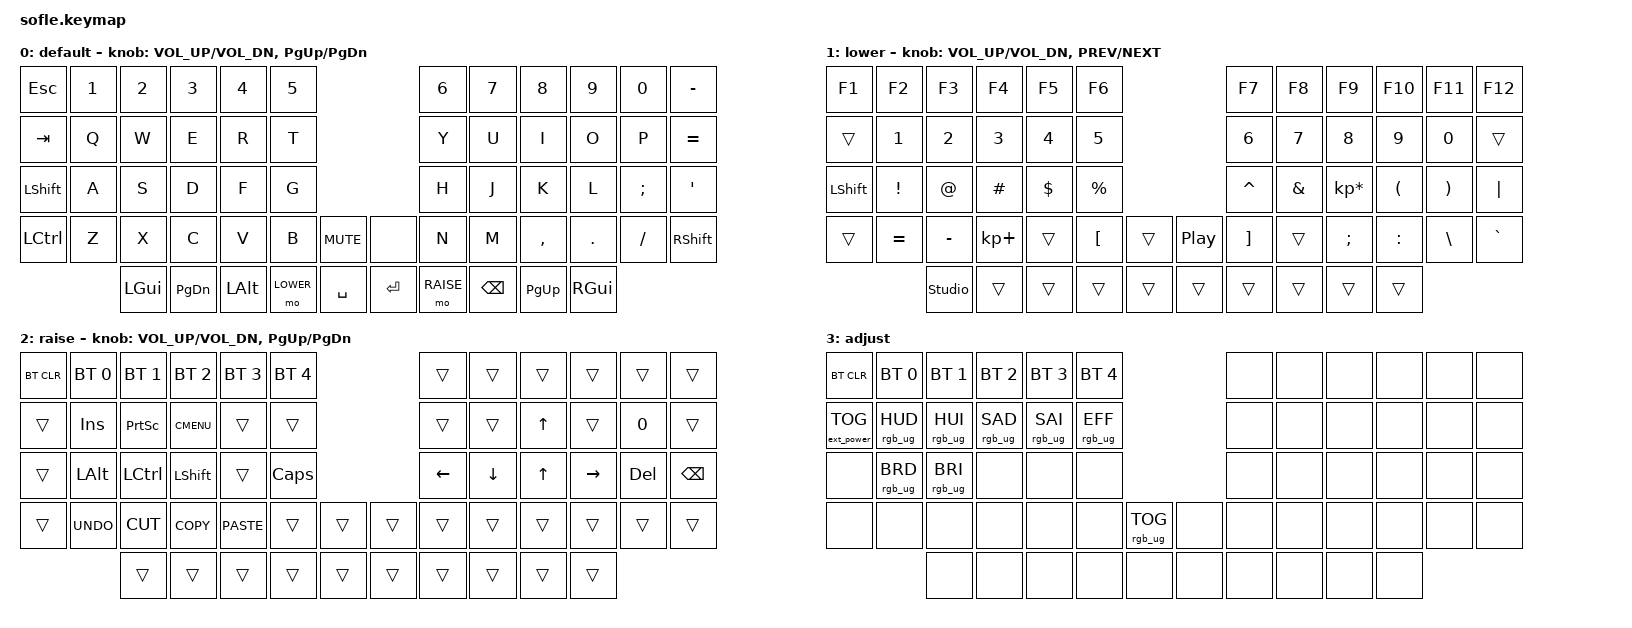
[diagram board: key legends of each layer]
/*
 * Copyright (c) 2020 The ZMK Contributors
 *
 * SPDX-License-Identifier: MIT
 */

#include <behaviors.dtsi>
#include <dt-bindings/zmk/bt.h>
#include <dt-bindings/zmk/ext_power.h>
#include <dt-bindings/zmk/keys.h>
#include <dt-bindings/zmk/rgb.h>

#define BASE 0
#define LOWER 1
#define RAISE 2
#define ADJUST 3

nice_view_spi: &spi0 {
  cs-gpios = <&pro_micro 4 GPIO_ACTIVE_HIGH>;
};

/ {
    // Activate ADJUST layer by pressing raise and lower

    conditional_layers {
        compatible = "zmk,conditional-layers";

        adjust_layer {
            if-layers = <LOWER RAISE>;
            then-layer = <ADJUST>;
        };
    };

    keymap {
        compatible = "zmk,keymap";

        default_layer {
            label = "default";

            // ------------------------------------------------------------------------------------------------------------
            // |  ESC  |  1  |  2  |  3   |  4   |  5   |                   |  6   |  7    |  8    |  9   |   0   |   -   |
            // |  TAB  |  Q  |  W  |  E   |  R   |  T   |                   |  Y   |  U    |  I    |  O   |   P   |   =   |
            // | SHIFT |  A  |  S  |  D   |  F   |  G   |                   |  H   |  J    |  K    |  L   |   ;   |   '   |
            // |  CTRL |  Z  |  X  |  C   |  V   |  B   |  MUTE  |  |       |  N   |  M    |  ,    |  .   |   /   | SHIFT |
            //               | GUI | ALT  | CTRL | LOWER|  ENTER |  | SPACE | RAISE| CTRL  | ALT   | GUI  |

            bindings = <
&kp ESC    &kp N1   &kp N2      &kp N3      &kp N4      &kp N5                                  &kp N6      &kp N7     &kp N8     &kp N9    &kp N0    &kp MINUS
&kp TAB    &kp Q    &kp W       &kp E       &kp R       &kp T                                   &kp Y       &kp U      &kp I      &kp O     &kp P     &kp EQUAL
&kp LSHIFT &kp A    &kp S       &kp D       &kp F       &kp G                                   &kp H       &kp J      &kp K      &kp L     &kp SEMI  &kp SQT
&kp LCTRL  &kp Z    &kp X       &kp C       &kp V       &kp B       &kp C_MUTE     &none        &kp N       &kp M      &kp COMMA  &kp DOT   &kp FSLH  &kp RSHFT
                    &kp LGUI    &kp PG_DN   &kp LALT    &mo LOWER   &kp SPACE      &kp ENTER    &mo RAISE   &kp BSPC  &kp PG_UP   &kp RGUI
            >;

            sensor-bindings = <&inc_dec_kp C_VOL_UP C_VOL_DN &inc_dec_kp PG_UP PG_DN>;
       };

        lower_layer {
            label = "lower";

            // TODO: Some binds are waiting for shifted keycode support.
            // ------------------------------------------------------------------------------------------------------------
            // |  F1   |  F2 |  F3 |  F4  |  F5  |  F6  |                   |  F7  |  F8   |  F9   |  F10 |  F11  |  F12  |
            // |       |  1  |  2  |  3   |  4   |  5   |                   |  6   |  7    |  8    |  9   |   0   |       |
            // | SHIFT |  !  |  @  |  #   |  $   |  %   |                   |  ^   |  &    |  *    |  (   |   )   |   |   |
            // |       |  =  |  -  |  +   |      | {/[  |        |  |  PP   |  }/  |       |  ;    |  :   |   \   |  `/~  |
            //               |     |      |      |      |        |  |       |      |       |       |      |

            bindings = <
&kp F1          &kp F2      &kp F3          &kp F4          &kp F5                                              &kp F6      &kp F7      &kp F8              &kp F9     &kp F10   &kp F11    &kp F12
&trans          &kp N1      &kp N2          &kp N3          &kp N4      &kp N5                                  &kp N6      &kp N7      &kp N8              &kp N9     &kp N0    &trans
&kp LSHIFT      &kp EXCL    &kp AT          &kp HASH        &kp DLLR    &kp PRCNT                               &kp CARET   &kp AMPS    &kp KP_MULTIPLY     &kp LPAR   &kp RPAR  &kp PIPE
&trans          &kp EQUAL   &kp MINUS       &kp KP_PLUS     &trans      &kp LBKT    &trans   &kp C_PLAY_PAUSE   &kp RBKT    &trans      &kp SEMI            &kp COLON  &kp BSLH  &kp GRAVE
                            &studio_unlock  &trans          &trans      &trans      &trans   &trans             &trans      &trans      &trans              &trans
            >;

            sensor-bindings = <&inc_dec_kp C_VOL_UP C_VOL_DN &inc_dec_kp C_PREV C_NEXT>;
        };

        raise_layer {
            label = "raise";

            // ------------------------------------------------------------------------------------------------------------
            // | BTCLR | BT1  | BT2  |  BT3  |  BT4  |  BT5 |                |      |      |       |      |       |       |
            // |       | INS  | PSCR | GUI   |       |      |                | PGUP |      |   ^   |      |       |       |
            // |       | ALT  | CTRL | SHIFT |       | CAPS |                | PGDN |   <- |   v   |  ->  |  DEL  | BKSPC |
            // |       | UNDO | CUT  | COPY  | PASTE |      |      |  |      |      |      |       |      |       |       |
            //                |      |       |       |      |      |  |      |      |      |       |      |

            bindings = <
&bt BT_CLR  &bt BT_SEL 0  &bt BT_SEL 1  &bt BT_SEL 2  &bt BT_SEL 3  &bt BT_SEL 4                    &trans      &trans    &trans    &trans     &trans   &trans
&trans      &kp INS       &kp PSCRN     &kp K_CMENU   &trans        &trans                          &trans      &trans    &kp UP    &trans     &kp N0   &trans
&trans      &kp LALT      &kp LCTRL     &kp LSHFT     &trans        &kp CLCK                        &kp LEFT    &kp DOWN  &kp UP    &kp RIGHT  &kp DEL  &kp BSPC
&trans      &kp K_UNDO    &kp K_CUT     &kp K_COPY    &kp K_PASTE   &trans        &trans    &trans  &trans      &trans    &trans    &trans     &trans   &trans
                          &trans        &trans        &trans        &trans        &trans    &trans  &trans      &trans    &trans    &trans
            >;

            sensor-bindings = <&inc_dec_kp C_VOL_UP C_VOL_DN &inc_dec_kp PG_UP PG_DN>;
        };

        adjust_layer {
            // ----------------------------------------------------------------------------------------------------------------------------
            // | BTCLR  |  BT1    |  BT2    |   BT3   |   BT4   |   BT5   |                  |      |      |       |      |       |       |
            // | EXTPWR | RGB_HUD | RGB_HUI | RGB_SAD | RGB_SAI | RGB_EFF |                  |      |      |       |      |       |       |
            // |        | RGB_BRD | RGB_BRI |         |         |         |                  |      |      |       |      |       |       |
            // |        |         |         |         |         |         | RGB_TOG | |      |      |      |       |      |       |       |
            //                    |         |         |         |         |         | |      |      |      |       |      |

            label = "adjust";
            bindings = <
&bt BT_CLR         &bt BT_SEL 0     &bt BT_SEL 1     &bt BT_SEL 2     &bt BT_SEL 3     &bt BT_SEL 4                               &none  &none  &none  &none  &none  &none
&ext_power EP_TOG  &rgb_ug RGB_HUD  &rgb_ug RGB_HUI  &rgb_ug RGB_SAD  &rgb_ug RGB_SAI  &rgb_ug RGB_EFF                            &none  &none  &none  &none  &none  &none
&none              &rgb_ug RGB_BRD  &rgb_ug RGB_BRI  &none            &none            &none                                      &none  &none  &none  &none  &none  &none
&none              &none            &none            &none            &none            &none            &rgb_ug RGB_TOG    &none  &none  &none  &none  &none  &none  &none
                                    &none            &none            &none            &none            &none              &none  &none  &none  &none  &none
            >;
        };
    };
};
